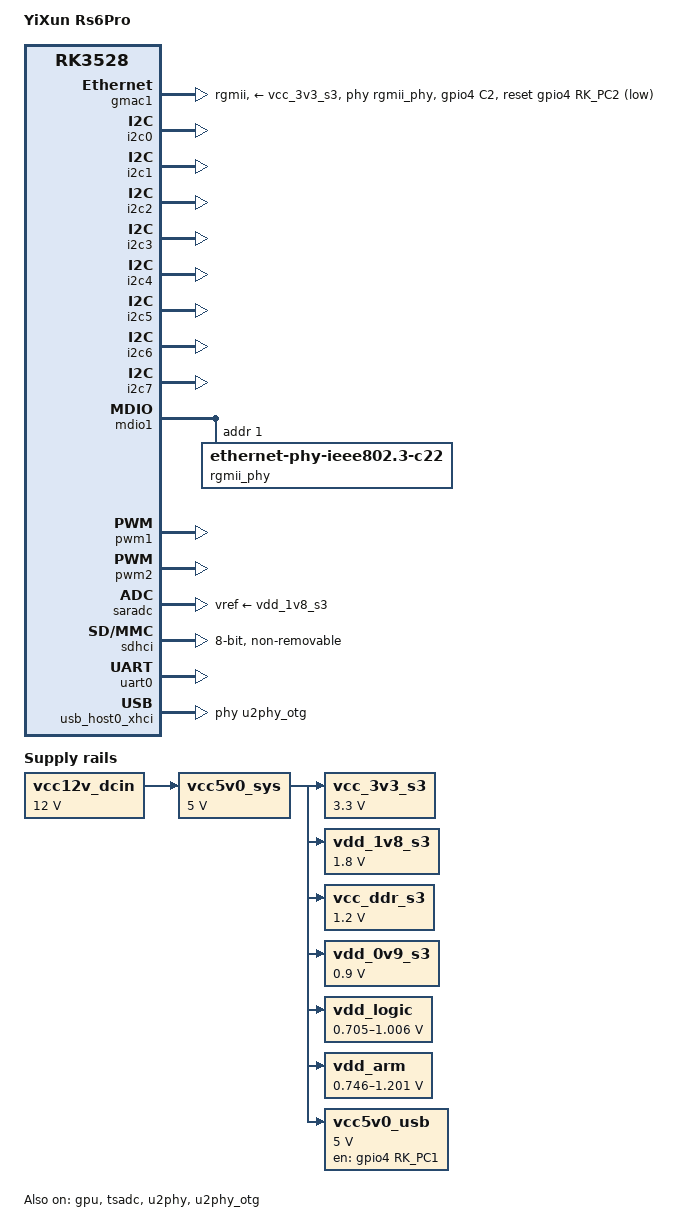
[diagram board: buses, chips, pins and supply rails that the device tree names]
// SPDX-License-Identifier: (GPL-2.0+ OR MIT)
/*
 * Copyright (c) 2022 Rockchip Electronics Co., Ltd.
 * Copyright (c) 2025 flippy <flippy@sina.com>
 */

/dts-v1/;

#include <dt-bindings/input/input.h>
#include <dt-bindings/leds/common.h>
#include <dt-bindings/pwm/pwm.h>
#include "rk3528.dtsi"
#include "rk3528-op-pwm.dtsi"

/ {
	model = "YiXun Rs6Pro";
	compatible = "yixun,rs6pro", "rockchip,rk3528";

	aliases {
		ethernet0 = &gmac1;
		mmc0 = &sdhci;
	};

	chosen: chosen {
		stdout-path = "serial0:1500000n8";
	};

	reserved_memory: reserved-memory {
		#address-cells = <2>;
		#size-cells = <2>;
		ranges;

		cmd: cma {
			compatible = "shared-dma-pool";
			reusable;
			size = <0x00 0x10000000>;
			linux,cma-default;
		};

		ramoops: ramoops@110000 {
			compatible = "ramoops";
			/* 0x110000 to 0x1f0000 is for ramoops */
			reg = <0x0 0x110000 0x0 0xe0000>;
			boot-log-size = <0x8000>;	/* do not change */
			boot-log-count = <0x1>;		/* do not change */
			console-size = <0x80000>;
			pmsg-size = <0x30000>;
			ftrace-size = <0x00000>;
			record-size = <0x14000>;
		};
	};

	vcc12v_dcin: vcc12v-dcin {
		compatible = "regulator-fixed";
		regulator-name = "vcc12v-dcin";
		regulator-always-on;
		regulator-boot-on;
		regulator-min-microvolt = <12000000>;
		regulator-max-microvolt = <12000000>;
	};

	vcc5v0_sys: vcc5v0-sys {
		compatible = "regulator-fixed";
		regulator-name = "vcc5v0_sys";
		regulator-always-on;
		regulator-boot-on;
		regulator-min-microvolt = <5000000>;
		regulator-max-microvolt = <5000000>;
		vin-supply = <&vcc12v_dcin>;
	};

	vcc_3v3_s3: vcc-3v3-s3 {
		compatible = "regulator-fixed";
		regulator-name = "vcc_3v3_s3";
		regulator-always-on;
		regulator-boot-on;
		regulator-min-microvolt = <3300000>;
		regulator-max-microvolt = <3300000>;
		vin-supply = <&vcc5v0_sys>;
	};

	vdd_1v8_s3: vdd-1v8-s3 {
		compatible = "regulator-fixed";
		regulator-name = "vdd_1v8_s3";
		regulator-always-on;
		regulator-boot-on;
		regulator-min-microvolt = <1800000>;
		regulator-max-microvolt = <1800000>;
		vin-supply = <&vcc5v0_sys>;
	};

	vcc_ddr_s3: vcc-ddr-s3 {
		compatible = "regulator-fixed";
		regulator-name = "vcc_ddr_s3";
		regulator-always-on;
		regulator-boot-on;
		regulator-min-microvolt = <1200000>;
		regulator-max-microvolt = <1200000>;
		vin-supply = <&vcc5v0_sys>;
	};

	vdd_0v9_s3: vdd-0v9-s3 {
		compatible = "regulator-fixed";
		regulator-name = "vdd_0v9_s3";
		regulator-always-on;
		regulator-boot-on;
		regulator-min-microvolt = <900000>;
		regulator-max-microvolt = <900000>;
		vin-supply = <&vcc5v0_sys>;
	};

	vdd_logic: vdd-logic {
		compatible = "pwm-regulator";
		pwms = <&pwm2 0 5000 PWM_POLARITY_INVERTED>;
		regulator-name = "vdd_logic";
		regulator-min-microvolt = <705000>;
		regulator-max-microvolt = <1006000>;
		regulator-init-microvolt = <950000>;
		regulator-always-on;
		regulator-boot-on;
		regulator-settling-time-up-us = <250>;
		regulator-enable-ramp-delay = <400>;
		regulator-ramp-delay = <12500>;
		pwm-supply = <&vcc5v0_sys>;
		status = "okay";
	};

	vdd_arm: vdd-arm {
		compatible = "pwm-regulator";
		pwms = <&pwm1 0 5000 PWM_POLARITY_INVERTED>;
		regulator-name = "vdd_arm";
		regulator-min-microvolt = <746000>;
		regulator-max-microvolt = <1201000>;
		regulator-init-microvolt = <953000>;
		regulator-always-on;
		regulator-boot-on;
		regulator-settling-time-up-us = <250>;
		regulator-enable-ramp-delay = <400>;
		regulator-ramp-delay = <12500>;
		pwm-supply = <&vcc5v0_sys>;
		status = "okay";
	};

	vcc5v0_usb: vcc5v0-usb-regulator {
		compatible = "regulator-fixed";
		enable-active-high;
		gpio = <&gpio4 RK_PC1 GPIO_ACTIVE_HIGH>;
		pinctrl-names = "default";
		pinctrl-0 = <&vcc5v0_usb_en>;
		regulator-always-on;
		regulator-boot-on;
		regulator-name = "vcc5v0_usb";
		regulator-min-microvolt = <5000000>;
		regulator-max-microvolt = <5000000>;
		vin-supply = <&vcc5v0_sys>;
	};
};

&cpu0 {
	cpu-supply = <&vdd_arm>;
};

&cpu1 {
	cpu-supply = <&vdd_arm>;
};

&cpu2 {
	cpu-supply = <&vdd_arm>;
};

&cpu3 {
	cpu-supply = <&vdd_arm>;
};

&gmac1 {
	clock_in_out = "output";
	pinctrl-names = "default";
	pinctrl-0 = <&rgmii_miim>, <&rgmii_tx_bus2>, <&rgmii_rx_bus2>,
		    <&rgmii_rgmii_clk>, <&rgmii_rgmii_bus>, <&eth_pins>,
		    <&gmac1_reset_pin>;

	phy-handle = <&rgmii_phy>;
	phy-mode = "rgmii";
	phy-supply = <&vcc_3v3_s3>;

	tx_delay = <0x2c>;
	rx_delay = <0x16>;

	snps,reset-active-low;
	/* Reset time is 20ms, 100ms for YT8531 */
	snps,reset-delays-us = <0 20000 100000>;
	snps,reset-gpio = <&gpio4 RK_PC2 GPIO_ACTIVE_LOW>;

	status = "okay";
};

&gpu {
	mali-supply = <&vdd_logic>;
	status = "okay";
};

&i2c0 {
	pinctrl-names = "default";
	pinctrl-0 = <&i2c0m1_xfer>;
	status = "okay";
};

&i2c1 {
	pinctrl-names = "default";
	pinctrl-0 = <&i2c1m0_xfer>;
	status = "okay";
};

&i2c2 {
	pinctrl-names = "default";
	pinctrl-0 = <&i2c2m1_xfer>;
	status = "okay";
};

&i2c3 {
	pinctrl-names = "default";
	pinctrl-0 = <&i2c3m0_xfer>;
	status = "okay";
};

&i2c4 {
	pinctrl-names = "default";
	pinctrl-0 = <&i2c4_xfer>;
	status = "okay";
};

&i2c5 {
	pinctrl-names = "default";
	pinctrl-0 = <&i2c5m0_xfer>;
	status = "okay";
};

/* OLED SSD1306 */
&i2c6 {
	pinctrl-names = "default";
	pinctrl-0 = <&i2c6m0_xfer>;
	status = "okay";
};

&i2c7 {
	pinctrl-names = "default";
	pinctrl-0 = <&i2c7_xfer>;
	status = "okay";
};

&mdio1 {
	rgmii_phy: phy@1 {
		compatible = "ethernet-phy-ieee802.3-c22";
		reg = <0x1>;
	};
};

&pinctrl {
	gmac {
		gmac1_reset_pin: gmac1-reset-pin {
			rockchip,pins = <4 RK_PC2 RK_FUNC_GPIO &pcfg_pull_up>;
		};
	};
	
	usb {
		vcc5v0_usb_en: vcc5v0-usb-en {
			rockchip,pins = <4 RK_PC1 RK_FUNC_GPIO &pcfg_pull_none>;
		};
	};
};

&pwm1 {
	pinctrl-names = "default";
	pinctrl-0 = <&pwm1m0_pins>;
	status = "okay";
};

&pwm2 {
	pinctrl-names = "default";
	pinctrl-0 = <&pwm2m0_pins>;
	status = "okay";
};

&saradc {
	status = "okay";
	vref-supply = <&vdd_1v8_s3>;
};

&sdhci {
	bus-width = <8>;
	cap-mmc-highspeed;
	mmc-hs200-1_8v;
	no-sd;
	no-sdio;
	non-removable;
	pinctrl-names = "default";
	pinctrl-0 = <&emmc_clk>, <&emmc_cmd>,  <&emmc_strb>, <&emmc_bus8>;
	status = "okay";
};

&tsadc {
	status = "okay";
};

&u2phy {
	status = "okay";
};

&u2phy_host {
	status = "disabled";
};

&u2phy_otg {
	status = "okay";
};

&uart0 {
	pinctrl-names = "default";
	pinctrl-0 = <&uart0m0_xfer>;
	status = "okay";
};

&usb_host0_ehci {
	status = "disabled";
};

&usb_host0_ohci {
	status = "disabled";
};

&usb_host0_xhci {
	extcon = <&u2phy>;
	maximum-speed = "high-speed";
	phys = <&u2phy_otg>;
	phy-names = "usb2-phy";
	status = "okay";
};
